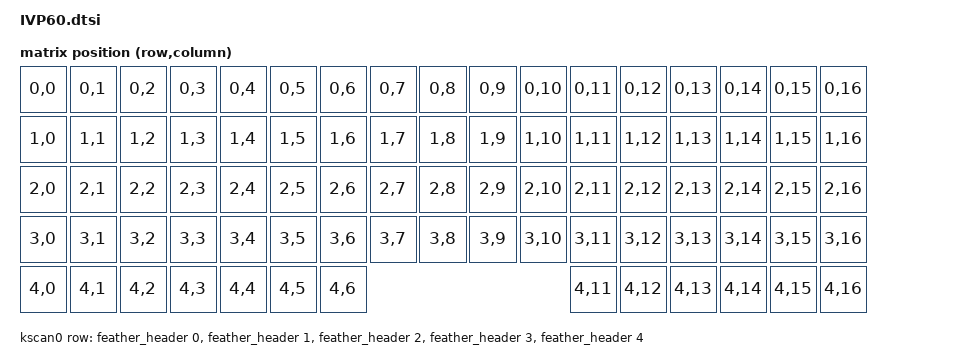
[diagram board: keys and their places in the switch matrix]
/*
 * Copyright (c) 2022 The ZMK Contributors
 *
 * SPDX-License-Identifier: MIT
 */

#include <dt-bindings/zmk/matrix_transform.h>

#include "IVP60-layouts.dtsi"

/ {
	chosen {
		zmk,kscan = &kscan0;
		zmk,physical_layout = &physical_layout0;
	};
	
	default_transform: keymap_transform_0 {
		compatible = "zmk,matrix-transform";
		columns = <17>;
		rows = <5>;
		// [ L00 ] [ L01 ] [ L02 ] [ L03 ] [ L04 ] [ L05 ] [ L06 ] [ L07 ]                     [ R18 ] [ R08 ] [ R07 ] [ R06 ] [ R05 ] [ R04 ] [ R03 ] [ R02 ] [ R01 ] [ R00 ]
		// [ L10 ] [    L11   ] [ L12 ] [ L13 ] [ L14 ] [ L15 ] [ L16 ] [ L17 ]                   [ R28 ] [ R17 ] [ R16 ] [ R15 ] [ R14 ] [ R13 ] [ R12 ] [ R11 ] [  R10     ]
		// [ L20 ] [     L21     ] [ L22 ] [ L23 ] [ L24 ] [ L25 ] [ L26 ] [ L27 ]                 [ R38 ] [ R27 ] [ R26 ] [ R25 ] [ R24 ] [ R23 ] [ R22 ] [ R21 ] [  R20    ]
		// [ L30 ] [       L31        ] [ L32 ] [ L33 ] [ L34 ] [ L35 ] [ L36 ] [ L37 ]               [ R37 ] [ R36 ] [ R35 ] [ R34 ] [ R33 ] [ R32 ] [ R31 ] [      R30     ]
		// [ L40 ] [   L41   ] [   L42   ] [  L43 ] [ L44 ] [        L45        ] [ L46 ]              [ R45 ] [       R44       ] [  R43  ] [  R42  ] [  R41  ] [    R40    ]
		map = <                                                                 
		   RC(0,0) RC(0,1) RC(0,2) RC(0,3) RC(0,4) RC(0,5) RC(0,6) RC(0,7)                 RC(0,8) RC(0,9) RC(0,10) RC(0,11) RC(0,12) RC(0,13) RC(0,14) RC(0,15) RC(0,16)
		   RC(1,0) RC(1,1) RC(1,2) RC(1,3) RC(1,4) RC(1,5) RC(1,6) RC(1,7)                 RC(1,8) RC(1,9) RC(1,10) RC(1,11) RC(1,12) RC(1,13) RC(1,14) RC(1,15) RC(1,16)
		   RC(2,0) RC(2,1) RC(2,2) RC(2,3) RC(2,4) RC(2,5) RC(2,6) RC(2,7)                 RC(2,8) RC(2,9) RC(2,10) RC(2,11) RC(2,12) RC(2,13) RC(2,14) RC(2,15) RC(2,16)
		   RC(3,0) RC(3,1) RC(3,2) RC(3,3) RC(3,4) RC(3,5) RC(3,6) RC(3,7)                 RC(3,8) RC(3,9) RC(3,10) RC(3,11) RC(3,12) RC(3,13) RC(3,14) RC(3,15) RC(3,16)
		   RC(4,0) RC(4,1) RC(4,2) RC(4,3) RC(4,4) RC(4,5) RC(4,6)                                                  RC(4,11) RC(4,12) RC(4,13) RC(4,14) RC(4,15) RC(4,16)
		>;
	};
	
	kscan0: kscan {
		compatible = "zmk,kscan-gpio-matrix";
		wakeup-source;
		diode-direction = "col2row";
		row-gpios = <&feather_header 0 (GPIO_ACTIVE_HIGH | GPIO_PULL_DOWN)> // A0, RA
		          , <&feather_header 1 (GPIO_ACTIVE_HIGH | GPIO_PULL_DOWN)> // A1, RB
		          , <&feather_header 2 (GPIO_ACTIVE_HIGH | GPIO_PULL_DOWN)> // A2, RC
		          , <&feather_header 3 (GPIO_ACTIVE_HIGH | GPIO_PULL_DOWN)> // A3, RD
		          , <&feather_header 4 (GPIO_ACTIVE_HIGH | GPIO_PULL_DOWN)> // A4, RE
		          ;
	};
	
};
